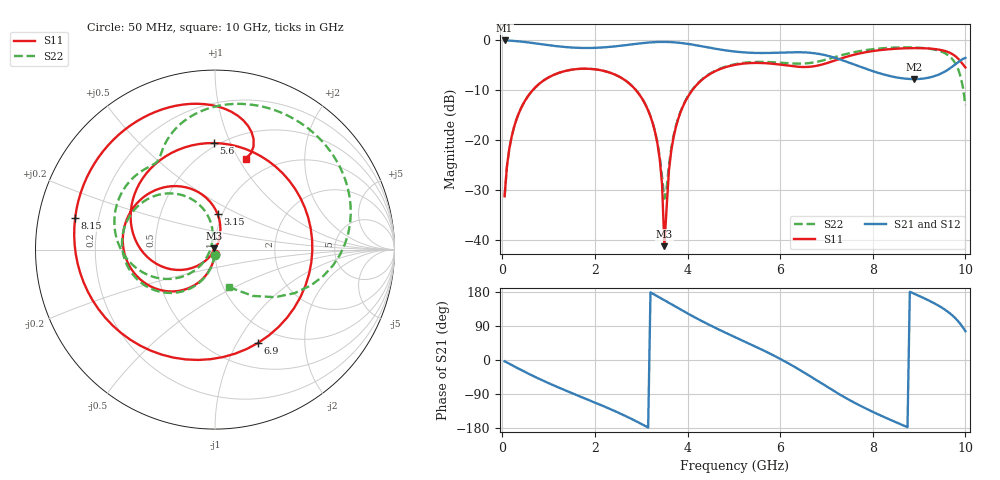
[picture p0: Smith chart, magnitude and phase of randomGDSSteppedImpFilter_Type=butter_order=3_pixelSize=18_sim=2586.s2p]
! freq	dB(S11)	phase(S11)	dB(S12)	phase(S12)
!  dB(S21)	phase(S21)	dB(S22)	phase(S22)
!S-par simulation data
#  GHz  S  DB  R 50
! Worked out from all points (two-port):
!   200 points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, 50 MHz to 10 GHz, reference 50 ohm
!   highest |S21| = -0.01 dB at 50 MHz (marker M1); lowest = -7.8 dB at 8.9 GHz (marker M2)
!   |S21| within 3 dB of the highest: start of sweep to 6.995 GHz
!   lowest |S11| = -41.3 dB at 3.5 GHz (marker M3), VSWR 1.02, Z = 49.4 + j0.631 ohm
!   |S11| at or under -10 dB: start of sweep to 655.3 MHz; 2.888 GHz to 4.101 GHz (1.214 GHz wide, 34.7 % of centre)
!   |S22| runs from -31.7 to -1.4 dB; largest |S21 - S12| = 0
!   S11 on the Smith chart (normalised r, x): 50 MHz: 1.00, -0.05; 3.15 GHz: 0.95, +0.39; 5.6 GHz: 0.47, +0.87; 6.9 GHz: 0.80, -1.23; 8.15 GHz: 0.11, +0.11; 10 GHz: 0.76, +1.08
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0.05  -31.26 -93.4  -0.01 -3.3  -0.01 -3.3  -31.26 -93.3
0.2  -19.38 -103.8  -0.07 -13.1  -0.07 -13.1  -19.38 -103.2
0.5  -11.96 -123.2  -0.33 -32.1  -0.33 -32.1  -11.95 -121.9
1.75  -5.67 167.3  -1.51 -99.7  -1.51 -99.7  -5.67 172.6
2.5  -7.15 127.0  -1.13 -138.7  -1.13 -138.7  -7.14 136.1
3.15  -14.05 85.9  -0.43 -178.3  -0.43 -178.3  -14.01 102.5
3.4  -23.83 68.1  -0.30 164.7  -0.30 164.7  -23.35 100.6
3.45  -28.88 64.5  -0.29 161.2  -0.29 161.2  -27.38 111.7
3.5  -41.26 132.4  -0.30 157.7  -0.30 157.7  -31.73 149.5
3.65  -22.02 -130.3  -0.34 147.2  -0.34 147.2  -21.50 -133.4
3.85  -14.38 -145.0  -0.50 133.2  -0.50 133.2  -14.23 -136.6
5.05  -4.85 131.8  -2.26 58.9  -2.26 58.9  -4.73 165.1
5.6  -4.53 90.7  -2.53 27.6  -2.53 27.6  -4.30 144.5
6.25  -5.15 25.3  -2.37 -13.8  -2.37 -13.8  -4.62 127.5
6.7  -5.22 -36.3  -2.52 -46.9  -2.52 -46.9  -4.45 121.1
6.9  -4.85 -65.1  -2.81 -62.2  -2.81 -62.2  -4.07 118.0
7.35  -3.52 -122.4  -3.99 -95.5  -3.99 -95.5  -2.90 106.9
8.15  -1.95 167.3  -6.60 -145.3  -6.60 -145.3  -1.62 77.4
8.35  -1.77 153.9  -7.10 -156.2  -7.10 -156.2  -1.49 69.3
8.9  -1.54 121.5  -7.76 174.6  -7.76 174.6  -1.43 45.4
9.6  -2.24 83.1  -6.00 129.3  -6.00 129.3  -2.79 2.5
10  -5.42 71.3  -3.50 76.1  -3.50 76.1  -12.97 -69.2
